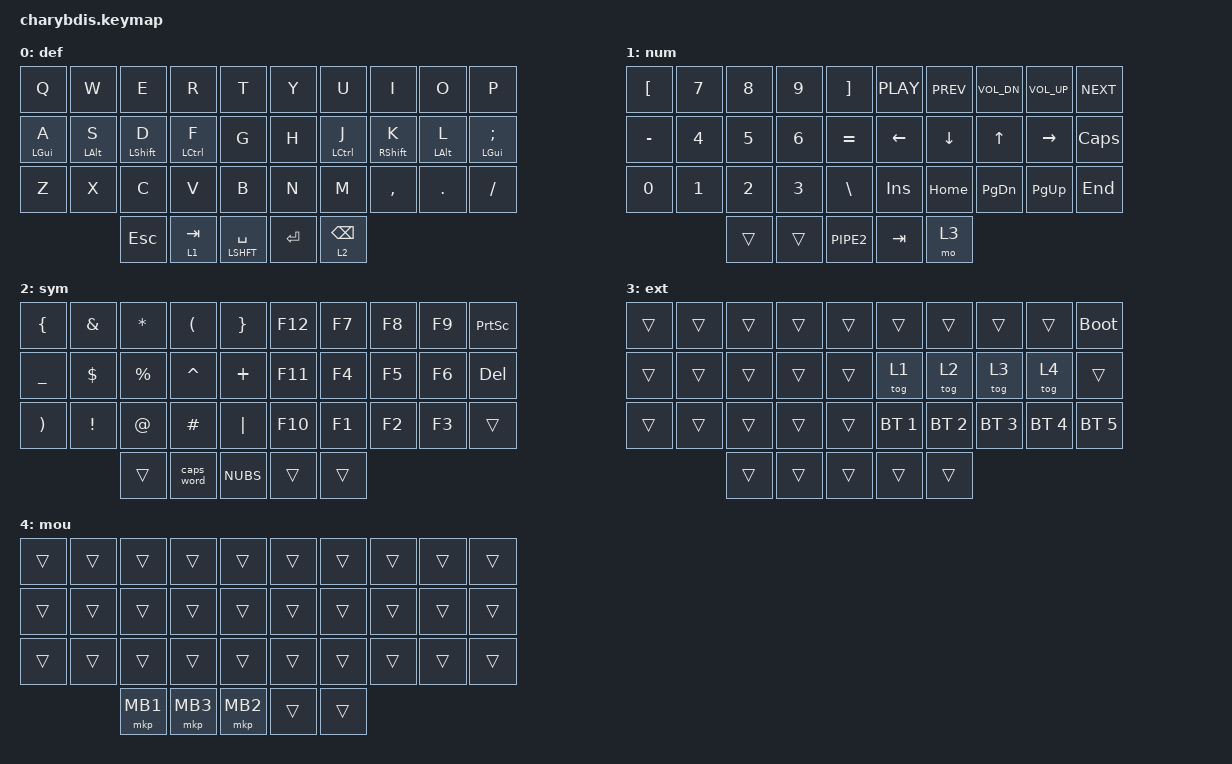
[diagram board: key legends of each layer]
#include <behaviors.dtsi>
#include <dt-bindings/zmk/keys.h>
#include <dt-bindings/zmk/bt.h>
#include <dt-bindings/zmk/outputs.h>
#include "zmk-helpers/helper.h"
#include "zmk-helpers/key-labels/36.h"
#include <dt-bindings/zmk/pointing.h>

/* Home Row Mods */
#define KEYS_L LT0 LT1 LT2 LT3 LT4 LM0 LM1 LM2 LM3 LM4 LB0 LB1 LB2 LB3 LB4 // left-hand keys
#define KEYS_R RT0 RT1 RT2 RT3 RT4 RM0 RM1 RM2 RM3 RM4 RB0 RB1 RB2 RB3 RB4 // right-hand keys
#define THUMBS LH 2 LH1 LH0 RH0 RH1 // thumb keys

#define DEF 0
#define NUM 1
#define SYM 2
#define EXT 3
#define GAME 4
#define MOU 5

/* left-hand HRMs */
ZMK_HOLD_TAP(hml,
    flavor = "balanced";
    tapping-term-ms = <250>;
    quick-tap-ms = <175>;
    require-prior-idle-ms = <80>;
    bindings = <&kp>, <&kp>;
    hold-trigger-on-release;
)

ZMK_HOLD_TAP(hmr,
    flavor = "balanced";
    tapping-term-ms = <250>;
    quick-tap-ms = <175>;
    require-prior-idle-ms = <80>;
    bindings = <&kp>, <&kp>;
    hold-trigger-on-release;
)

ZMK_BEHAVIOR(lt_tab, hold_tap,
    flavor = "balanced";
    tapping-term-ms = <120>;
    quick-tap-ms = <150>;
    require-prior-idle-ms = <80>;
    bindings = <&mo>, <&kp>;
    hold-trigger-on-release;
)

ZMK_BEHAVIOR(lt_back, hold_tap,
    flavor = "balanced";
    tapping-term-ms = <120>;
    quick-tap-ms = <150>;
    require-prior-idle-ms = <80>;
    bindings = <&mo>, <&kp>;
    hold-trigger-on-release;
)

ZMK_BEHAVIOR(lt_shift, hold_tap,
    flavor = "balanced";
    tapping-term-ms = <120>;
    quick-tap-ms = <150>;
    require-prior-idle-ms = <80>;
    bindings = <&kp>, <&kp>;
    hold-trigger-on-release;
)

ZMK_COMBO(caps, &kp CAPSLOCK, LM2 RM2)

ZMK_CONDITIONAL_LAYER(ext, NUM SYM, EXT) // FN + NUM --> SYS.

ZMK_LAYER(def,
		&kp Q           &kp W       &kp E        &kp R          &kp T           &kp Y       &kp U            &kp I         &kp O       &kp P         
		&hml LGUI A     &hml LALT S &hml LSHFT D &hml LCTRL F   &kp G           &kp H       &hmr LCTRL J     &hmr RSHFT K  &hmr LALT L &hmr LGUI SEMI
    &kp Z           &kp X       &kp C        &kp V          &kp B           &kp N       &kp M            &kp COMMA     &kp DOT     &kp FSLH
      				  			          &kp ESC      &lt_tab 1 TAB  &lt_shift LSHFT SPACE       &kp RET     &lt_back 2 BSPC
)

ZMK_LAYER(num,  
    &kp LBKT        &kp N7      &kp N8     &kp N9           &kp RBKT       &kp C_PLAY  &kp C_PREV       &kp C_VOL_DN  &kp C_VOL_UP &kp C_NEXT
    &kp MINUS       &kp N4      &kp N5     &kp N6           &kp EQUAL      &kp LEFT    &kp DOWN         &kp UP        &kp RIGHT   &kp CAPSLOCK
    &kp N0          &kp N1      &kp N2     &kp N3           &kp BSLH       &kp INS     &kp HOME         &kp PG_DN     &kp PG_UP   &kp END
                                &trans     &trans           &kp PIPE2      &kp TAB     &mo 3
)

ZMK_LAYER(sym,  
    &kp LBRC        &kp AMPS    &kp ASTRK  &kp LPAR         &kp RBRC       &kp F12     &kp F7           &kp F8        &kp F9      &kp PSCRN
    &kp UNDERSCORE  &kp DLLR    &kp PRCNT  &kp CARET        &kp PLUS       &kp F11     &kp F4           &kp F5        &kp F6      &kp DEL  
    &kp RPAR        &kp EXCL    &kp AT     &kp HASH         &kp PIPE       &kp F10     &kp F1           &kp F2        &kp F3      &trans
                                &trans     &caps_word       &kp NUBS       &trans      &trans
)

ZMK_LAYER(ext,
    &trans          &trans      &trans     &trans           &trans         &trans      &trans           &trans        &trans        &bootloader
    &trans          &trans      &trans     &trans           &trans         &tog 1      &tog 2           &tog 3        &tog 4        &trans
    &trans          &trans      &trans     &trans           &trans         &bt BT_SEL 1 &bt BT_SEL 2    &bt BT_SEL 3  &bt BT_SEL 4  &bt BT_SEL 5
                                &trans     &trans           &trans         &trans       &trans
)

ZMK_LAYER(mou,
    &trans          &trans      &trans     &trans           &trans         &trans      &trans           &trans        &trans        &trans
    &trans          &trans      &trans     &trans           &trans         &trans      &trans           &trans        &trans        &trans
    &trans          &trans      &trans     &trans           &trans         &trans      &trans           &trans        &trans        &trans
                                &mkp MB1   &mkp MB3         &mkp MB2       &trans       &trans
)
